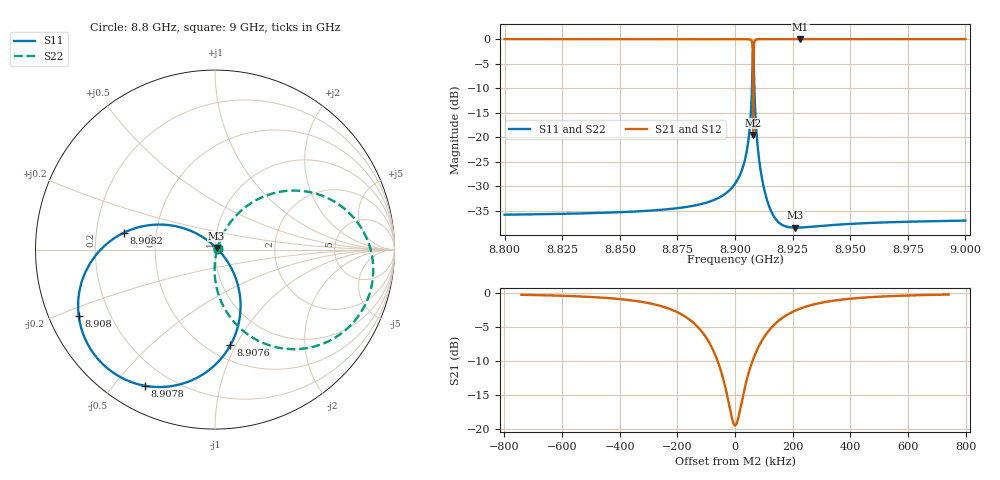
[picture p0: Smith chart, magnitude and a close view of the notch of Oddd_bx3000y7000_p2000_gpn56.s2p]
! Sonnet Data File
! From: emgraph Version : 16.52
! From Project: Resonator2_cp
! Data is De-embedded
! Data File Written: 10/06/2017 09:05:51
!< HDATE 10/05/2017 15:28:06
!< MDATE 10/05/2017 15:28:06
!< PARAMS
!< gap = 56.0
!< Length = 400.0
!< Pwid1 = 2000.0
!< Pwid2 = 2000.0
!< END PARAMS
# GHZ S MA R 35.97000
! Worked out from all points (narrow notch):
!   1595 points, 8.8 GHz to 9 GHz, reference 35.97 ohm
!   highest |S21| = 0.00 dB at 8.9284 GHz (marker M1); lowest = -19.5 dB at 8.9079 GHz (marker M2)
!   notch at M2: 19.5 dB deep, 126 kHz wide at half that depth
!   lowest |S11| = -38.4 dB at 8.9262 GHz (marker M3), VSWR 1.02, Z = 36.6 + j0.625 ohm
!   |S11| at or under -10 dB: start of sweep to 8.9074 GHz; 8.9084 GHz to end of sweep
!   |S22| runs from -38.4 to -1.0 dB; largest |S21 - S12| = 0
!   S11 on the Smith chart (normalised r, x): 8.8 GHz: 1.03, +0.00; 8.9076 GHz: 0.63, -0.95; 8.9078 GHz: 0.11, -0.61; 8.908 GHz: 0.09, -0.23; 8.9082 GHz: 0.32, +0.08; 9 GHz: 1.03, +0.01
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8.8  0.01621 3.2  0.9999 -74.4  0.9999 -74.4  0.01621 28.0
!< P1 F=8.8 Eeff=(5.36817953 -2.3731e-5) Z0=(35.9853883 8.0522e-5) R=0.0 C=0.0
!< P2 F=8.8 Eeff=(5.36817953 -2.3731e-5) Z0=(35.9853883 8.0522e-5) R=0.0 C=0.0
8.8334  0.01671 1.0  0.9999 -74.7  0.9999 -74.7  0.01671 29.6
8.8668  0.01808 -3.8  0.9998 -75.1  0.9998 -75.1  0.01809 33.6
8.9  0.03348 -25.8  0.9994 -76.4  0.9994 -76.4  0.03352 52.7
8.905399  0.07926 -41.1  0.9963 -79.2  0.9963 -79.2  0.07944 61.9
8.906984  0.1943 -53.8  0.9768 -85.9  0.9768 -85.9  0.1948 59.6
8.907392  0.3266 -64.2  0.9323 -93.8  0.9323 -93.8  0.3275 52.2
8.90764  0.5395 -80.8  0.8008 -107.3  0.8008 -107.3  0.541 37.5
8.907763  0.7318 -99.2  0.5817 -121.2  0.5817 -121.2  0.7338 20.1
8.907839  0.8528 -117.2  0.3161 -128.8  0.3161 -128.8  0.8552 2.7
8.9079  0.8933 -134.9  0.1054 -74.5  0.1054 -74.5  0.8959 -14.6
8.907966  0.8442 -154.1  0.34 -20.8  0.34 -20.8  0.8466 -33.2
8.908171  0.5147 169.3  0.8185 -43.8  0.8185 -43.8  0.5162 -68.1
8.908622  0.2234 146.8  0.9681 -61.8  0.9681 -61.8  0.2241 -87.0
8.9098  0.08234 132.2  0.9956 -70.0  0.9956 -70.0  0.08261 -90.9
8.913011  0.02729 110.8  0.9995 -73.3  0.9995 -73.3  0.0274 -77.0
8.9182  0.01409 77.6  0.9999 -74.3  0.9999 -74.3  0.01415 -46.2
8.9262  0.01196 45.6  0.9999 -74.8  0.9999 -74.8  0.01198 -15.3
8.9284  0.01199 40.7  0.9999 -74.9  0.9999 -74.9  0.01201 -10.5
8.933395  0.01223 32.7  0.9999 -75.1  0.9999 -75.1  0.01224 -2.8
8.9668  0.01358 16.0  0.9999 -75.6  0.9999 -75.6  0.01358 12.9
9  0.01411 11.8  0.9999 -75.9  0.9999 -75.9  0.01411 16.4
